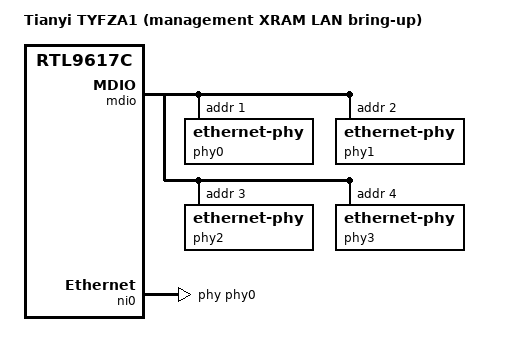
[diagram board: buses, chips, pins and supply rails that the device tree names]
// SPDX-License-Identifier: GPL-2.0-only
#include "rtl9617c-tyfza1-stock-ubi-readonly.dts"

/ { model = "Tianyi TYFZA1 (management XRAM LAN bring-up)"; };

&mdio {
	status = "okay";
	phy0: ethernet-phy@1 {
		reg = <1>;
	};
	phy1: ethernet-phy@2 { reg = <2>; };
	phy2: ethernet-phy@3 { reg = <3>; };
	phy3: ethernet-phy@4 { reg = <4>; };
};

&{/soc} {
	ni0: ethernet@4f4300000 {
		compatible = "realtek,rtl9617c-xram-eth";
		reg = <4 0xf4300000 0 0x10000>, <0 0xf4500000 0 0x2000>;
		reg-names = "ni", "xram";
		realtek,port = <0>;
		phy-handle = <&phy0>;
	};
};
